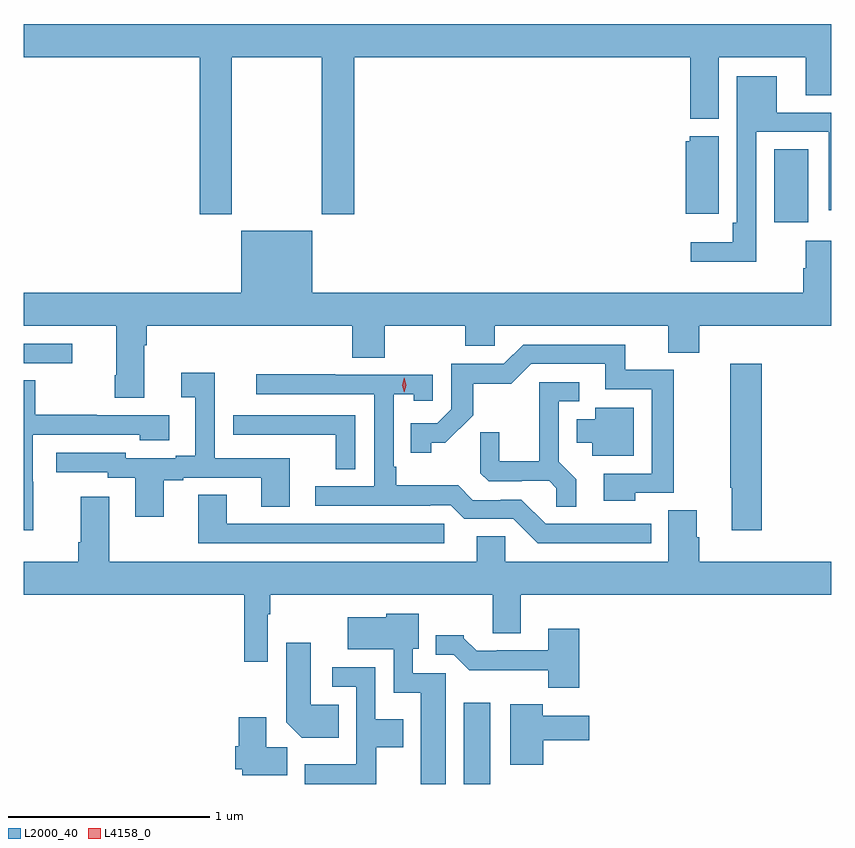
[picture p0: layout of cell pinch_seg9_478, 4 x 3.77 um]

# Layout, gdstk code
import gdstk
lib = gdstk.Library(unit=1e-6, precision=1e-09)
def R(c, l, rs):  # rectangles x0, y0, x1, y1
    for r in rs: c.add(gdstk.rectangle(r[:2], r[2:], *l))
def P(c, l, *ps):  # polygons
    for p in ps: c.add(gdstk.Polygon(p, *l))
L2000_40 = (2000, 40)
L4158_0 = (4158, 0)

pinch_seg9_478 = lib.new_cell('pinch_seg9_478')
R(pinch_seg9_478, L2000_40, [(366.485,1192.819,366.616,1193.221), (364.306,1194.903,364.546,1194.999), (368.024,1195.602,368.191,1195.964)])
P(pinch_seg9_478, L2000_40, [(364.306,1196.42),(365.177,1196.42),(365.177,1195.641),(365.337,1195.641),(365.337,1196.42),(365.782,1196.42),(365.782,1195.641),(365.942,1195.641),(365.942,1196.42),(367.607,1196.42),(367.607,1196.114),(367.75,1196.114),(367.75,1196.42),(368.18,1196.42),(368.18,1196.23),(368.306,1196.23),(368.306,1196.584),(364.306,1196.584)],
  [(367.935,1196.049),(368.295,1196.049),(368.295,1195.662),(368.306,1195.662),(368.306,1196.145),(368.035,1196.145),(368.035,1196.326),(367.839,1196.326),(367.839,1195.6),(367.819,1195.6),(367.819,1195.504),(367.611,1195.504),(367.611,1195.406),(367.935,1195.406)],
  [(367.75,1196.029),(367.605,1196.029),(367.605,1196.004),(367.586,1196.004),(367.586,1195.643),(367.75,1195.643)],
  [(364.903,1194.992),(364.916,1194.992),(364.916,1195.088),(365.933,1195.088),(365.933,1194.931),(366.093,1194.931),(366.093,1195.088),(366.493,1195.088),(366.493,1194.99),(366.639,1194.99),(366.639,1195.088),(367.499,1195.088),(367.499,1194.955),(367.652,1194.955),(367.652,1195.088),(368.306,1195.088),(368.306,1195.51),(368.18,1195.51),(368.18,1195.373),(368.168,1195.373),(368.168,1195.252),(365.734,1195.252),(365.734,1195.561),(365.384,1195.561),(365.384,1195.252),(364.306,1195.252),(364.306,1195.088),(364.763,1195.088),(364.763,1194.844),(364.756,1194.844),(364.756,1194.732),(364.903,1194.732)],
  [(367.335,1194.261),(367.525,1194.261),(367.525,1194.87),(367.286,1194.87),(367.286,1194.996),(366.78,1194.996),(366.684,1194.9),(366.423,1194.9),(366.423,1194.675),(366.354,1194.606),(366.223,1194.606),(366.223,1194.459),(366.324,1194.459),(366.324,1194.509),(366.394,1194.509),(366.532,1194.646),(366.532,1194.802),(366.721,1194.802),(366.819,1194.9),(367.187,1194.9),(367.187,1194.774),(367.416,1194.774),(367.416,1194.357),(367.179,1194.357),(367.179,1194.221),(367.335,1194.221)],
  [(367.961,1194.901),(367.807,1194.901),(367.807,1194.287),(367.814,1194.287),(367.814,1194.075),(367.961,1194.075)],
  [(364.999,1194.324),(365.095,1194.324),(365.095,1194.336),(365.483,1194.336),(365.483,1194.193),(365.623,1194.193),(365.623,1194.432),(365.253,1194.432),(365.253,1194.856),(365.085,1194.856),(365.085,1194.736),(365.156,1194.736),(365.156,1194.445),(365.06,1194.445),(365.06,1194.432),(364.812,1194.432),(364.812,1194.459),(364.467,1194.459),(364.467,1194.363),(364.722,1194.363),(364.722,1194.336),(364.859,1194.336),(364.859,1194.144),(364.999,1194.144)],
  [(367.414,1194.108),(366.891,1194.108),(366.771,1194.228),(366.67,1194.228),(366.67,1194.225),(366.531,1194.225),(366.458,1194.298),(366.151,1194.298),(366.151,1194.391),(366.138,1194.391),(366.138,1194.749),(366.237,1194.749),(366.237,1194.717),(366.333,1194.717),(366.333,1194.846),(365.849,1194.846),(365.849,1194.849),(365.457,1194.849),(365.457,1194.75),(366.042,1194.75),(366.042,1194.294),(365.751,1194.294),(365.751,1194.198),(366.32,1194.198),(366.32,1194.201),(366.42,1194.201),(366.489,1194.132),(366.732,1194.132),(366.852,1194.012),(367.414,1194.012)],
  [(364.353,1194.317),(364.35,1194.317),(364.35,1194.549),(364.881,1194.549),(364.881,1194.521),(365.026,1194.521),(365.026,1194.645),(364.667,1194.645),(364.667,1194.648),(364.363,1194.648),(364.363,1194.818),(364.306,1194.818),(364.306,1194.077),(364.353,1194.077)],
  [(367.043,1194.329),(366.957,1194.415),(366.957,1194.714),(367.057,1194.714),(367.057,1194.81),(366.86,1194.81),(366.86,1194.418),(366.662,1194.418),(366.662,1194.561),(366.568,1194.561),(366.568,1194.359),(366.609,1194.318),(366.774,1194.318),(366.774,1194.321),(366.908,1194.321),(366.945,1194.284),(366.945,1194.193),(367.043,1194.193)],
  [(367.327,1194.682),(367.136,1194.682),(367.136,1194.625),(367.046,1194.625),(367.046,1194.509),(367.121,1194.509),(367.121,1194.446),(367.327,1194.446)],
  [(365.949,1194.645),(365.343,1194.645),(365.343,1194.55),(365.455,1194.55),(365.455,1194.549),(365.851,1194.549),(365.851,1194.379),(365.949,1194.379)],
  [(366.388,1194.108),(365.311,1194.108),(365.311,1194.251),(365.171,1194.251),(365.171,1194.012),(366.388,1194.012)],
  [(365.514,1193.66),(365.527,1193.66),(365.527,1193.756),(366.629,1193.756),(366.629,1193.566),(366.769,1193.566),(366.769,1193.756),(368.306,1193.756),(368.306,1193.92),(367.652,1193.92),(367.652,1194.042),(367.639,1194.042),(367.639,1194.176),(367.499,1194.176),(367.499,1193.92),(366.69,1193.92),(366.69,1194.047),(366.551,1194.047),(366.551,1193.92),(364.729,1193.92),(364.729,1194.241),(364.589,1194.241),(364.589,1194.016),(364.577,1194.016),(364.577,1193.92),(364.306,1193.92),(364.306,1193.756),(365.398,1193.756),(365.398,1193.424),(365.514,1193.424)],
  [(366.397,1193.367),(366.234,1193.367),(366.234,1193.49),(366.262,1193.49),(366.262,1193.662),(366.102,1193.662),(366.102,1193.644),(365.91,1193.644),(365.91,1193.486),(366.138,1193.486),(366.138,1193.27),(366.272,1193.27),(366.272,1192.819),(366.397,1192.819)],
  [(367.058,1193.587),(366.905,1193.587),(366.905,1193.481),(366.649,1193.481),(366.649,1193.478),(366.55,1193.478),(366.486,1193.542),(366.486,1193.557),(366.347,1193.557),(366.347,1193.46),(366.435,1193.46),(366.514,1193.382),(366.903,1193.382),(366.903,1193.297),(367.058,1193.297)],
  [(365.867,1193.212),(365.728,1193.212),(365.728,1193.518),(365.606,1193.518),(365.606,1193.126),(365.684,1193.048),(365.867,1193.048)],
  [(366.051,1193),(366.187,1193),(366.187,1193.14),(366.048,1193.14),(366.048,1193.397),(365.835,1193.397),(365.835,1193.301),(365.952,1193.301),(365.952,1192.918),(365.699,1192.918),(365.699,1192.819),(366.051,1192.819)],
  [(366.88,1193.036),(367.108,1193.036),(367.108,1193.158),(366.878,1193.158),(366.878,1193.215),(366.716,1193.215),(366.716,1192.914),(366.88,1192.914)],
  [(365.611,1193),(365.506,1193),(365.506,1193.149),(365.372,1193.149),(365.372,1193.007),(365.354,1193.007),(365.354,1192.893),(365.388,1192.893),(365.388,1192.862),(365.611,1192.862)])
P(pinch_seg9_478, L4158_0, [(366.19,1194.759),(366.19,1194.759),(366.181,1194.795),(366.191,1194.831),(366.191,1194.831),(366.191,1194.831),(366.201,1194.795),(366.19,1194.759)])

lib.write_gds('pinch_seg9_478.gds')
